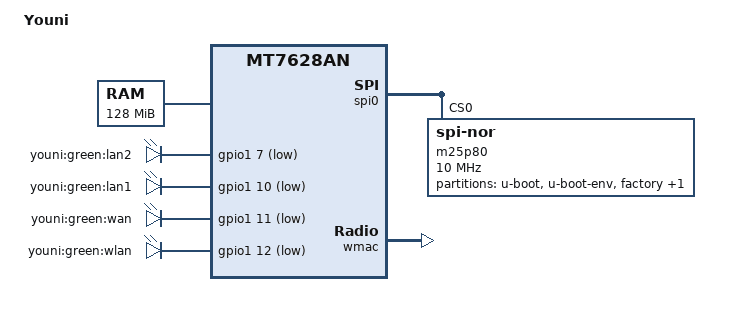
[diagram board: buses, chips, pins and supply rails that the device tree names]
// SPDX-License-Identifier: GPL-2.0-or-later OR MIT
/dts-v1/;

#include "mt7628an.dtsi"

#include <dt-bindings/gpio/gpio.h>
#include <dt-bindings/input/input.h>

/ {
	compatible = "youni", "mediatek,mt7628an-soc";
	model = "Youni";

	chosen {
		bootargs = "console=ttyS0,115200";
	};

	memory@0 {
		device_type = "memory";
		reg = <0x0 0x8000000>;
	};
	
	gpio-leds {
	compatible = "gpio-leds";

	lan2 {
		label = "youni:green:lan2";
		gpios = <&gpio1 7 GPIO_ACTIVE_LOW>;
	};

	lan1 {
		label = "youni:green:lan1";
		gpios = <&gpio1 10 GPIO_ACTIVE_LOW>;
	};

	wan {
		label = "youni:green:wan";
		gpios = <&gpio1 11 GPIO_ACTIVE_LOW>;
	};

	wlan {
		label = "youni:green:wlan";
		gpios = <&gpio1 12 GPIO_ACTIVE_LOW>;
	};
};	
};

&pinctrl {
	state_default: pinctrl0 {
		gpio {
			ralink,group = "i2c", "wled_an";
			ralink,function = "gpio";
		};
	};
};

&spi0 {
	status = "okay";

	m25p80@0 {
		#address-cells = <1>;
		#size-cells = <1>;
		compatible = "jedec,spi-nor";
		reg = <0>;
		spi-max-frequency = <10000000>;
		m25p,chunked-io = <32>;

		partition@0 {
			label = "u-boot";
			reg = <0x0 0x30000>;
		};

		partition@30000 {
			label = "u-boot-env";
			reg = <0x30000 0x10000>;
			read-only;
		};

		factory: partition@40000 {
			label = "factory";
			reg = <0x40000 0x10000>;
			read-only;
		};

		partition@50000 {
			label = "firmware";
			reg = <0x50000 0x7b0000>;
		};
	};
};

&wmac {
	status = "okay";
	ralink,mtd-eeprom = <&factory 0x4>;
};

&ethernet {
	mtd-mac-address = <&factory 0x2e>;
	mediatek,portmap = "llllw";
};
